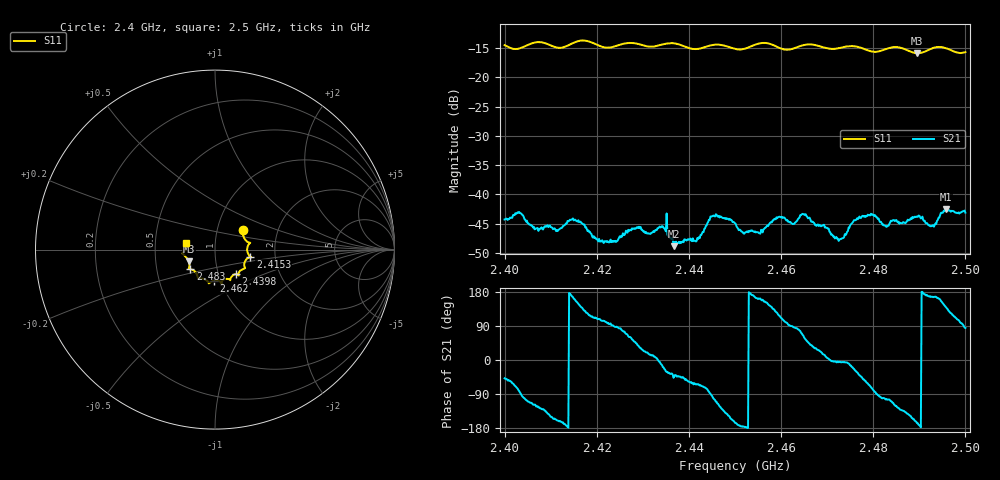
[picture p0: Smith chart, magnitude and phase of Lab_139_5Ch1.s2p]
# Hz S RI R 50
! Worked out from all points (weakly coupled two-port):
!   601 points, 2.4 GHz to 2.5 GHz, reference 50 ohm
!   highest |S21| = -42.51 dB at 2.4958 GHz (marker M1); lowest = -48.8 dB at 2.4367 GHz (marker M2)
!   lowest |S11| = -15.9 dB at 2.4895 GHz (marker M3), VSWR 1.38, Z = 36.9 - j5 ohm
!   |S11| at or under -10 dB: start of sweep to end of sweep
!   S12 and S22 are empty: the file has one direction only
!   S11 on the Smith chart (normalised r, x): 2.4 GHz: 1.33, +0.29; 2.4153 GHz: 1.48, -0.12; 2.4398 GHz: 1.21, -0.34; 2.462 GHz: 0.93, -0.33; 2.483 GHz: 0.74, -0.17; 2.5 GHz: 0.72, +0.06
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2.4e9  0.1552 0.1066  0.00406 -0.00457  0 0  0 0
2.403167e9  0.1668 0.0577  0.000975 -0.00702  0 0  0 0
2.4115e9  0.1792 0.00658  -0.00457 -0.00168  0 0  0 0
2.415333e9  0.1963 -0.0388  -0.00565 0.00228  0 0  0 0
2.416667e9  0.2019 -0.0429  -0.00431 0.00374  0 0  0 0
2.421167e9  0.1738 -0.0556  -0.000925 0.00395  0 0  0 0
2.433333e9  0.1311 -0.1335  0.00514 -9.3e-05  0 0  0 0
2.436667e9  0.1325 -0.1442  0.00247 -0.00265  0 0  0 0
2.439833e9  0.1155 -0.1365  0.0023 -0.00346  0 0  0 0
2.445333e9  0.0847 -0.1694  -0.00135 -0.00647  0 0  0 0
2.45e9  0.0646 -0.1629  -0.0055 -0.00138  0 0  0 0
2.455e9  0.036 -0.1904  -0.0045 0.00155  0 0  0 0
2.462e9  -0.00498 -0.1733  1.81e-05 0.00583  0 0  0 0
2.466667e9  -0.0345 -0.1879  0.00456 0.00363  0 0  0 0
2.472667e9  -0.0767 -0.1605  0.00411 -0.000359  0 0  0 0
2.477333e9  -0.0971 -0.1504  0.00455 -0.00435  0 0  0 0
2.483e9  -0.1375 -0.1094  -0.00135 -0.00515  0 0  0 0
2.483333e9  -0.14 -0.1091  -0.00136 -0.00524  0 0  0 0
2.4895e9  -0.1464 -0.0659  -0.00628 -0.00149  0 0  0 0
2.492833e9  -0.175 -0.0283  -0.0053 0.00123  0 0  0 0
2.495833e9  -0.1767 -0.0157  -0.00557 0.00501  0 0  0 0
2.5e9  -0.1597 0.039  0.00068 0.00696  0 0  0 0
